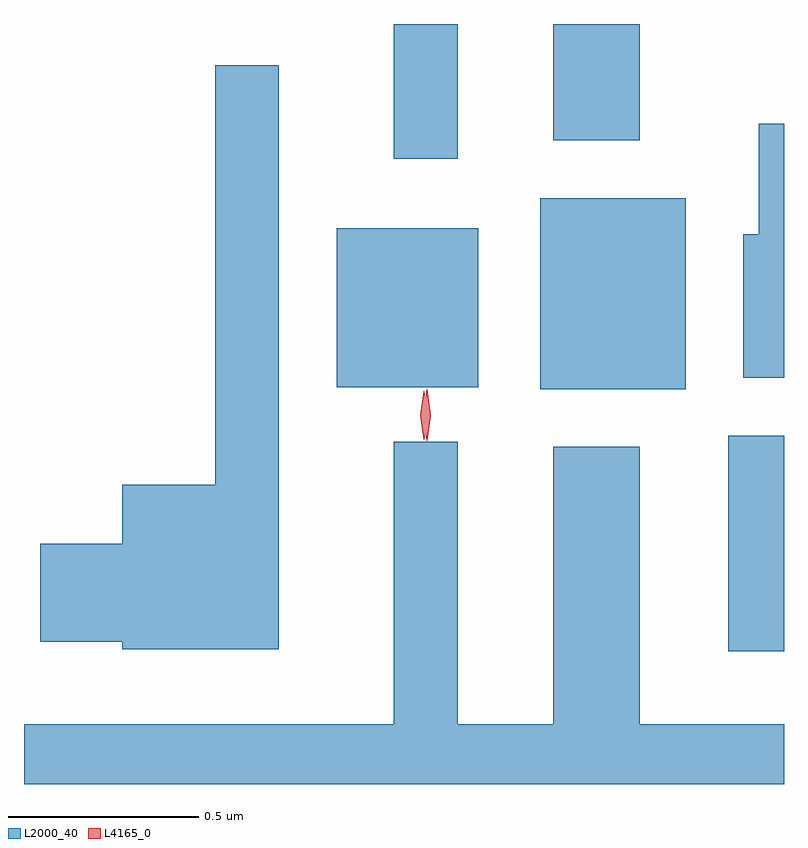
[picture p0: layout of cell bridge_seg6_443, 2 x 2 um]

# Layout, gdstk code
import gdstk
lib = gdstk.Library(unit=1e-6, precision=1e-09)
def R(c, l, rs):  # rectangles x0, y0, x1, y1
    for r in rs: c.add(gdstk.rectangle(r[:2], r[2:], *l))
def P(c, l, *ps):  # polygons
    for p in ps: c.add(gdstk.Polygon(p, *l))
L2000_40 = (2000, 40)
L4165_0 = (4165, 0)

bridge_seg6_443 = lib.new_cell('bridge_seg6_443')
R(bridge_seg6_443, L2000_40, [(909.901,1608.216,910.048,1608.784), (909.406,1608.906,909.789,1609.409), (908.871,1608.911,909.244,1609.329), (909.021,1609.513,909.189,1609.867), (909.441,1609.561,909.669,1609.867)])
P(bridge_seg6_443, L2000_40, [(908.719,1609.758),(908.551,1609.758),(908.551,1608.654),(908.306,1608.654),(908.306,1608.499),(908.091,1608.499),(908.091,1608.241),(908.306,1608.241),(908.306,1608.221),(908.719,1608.221)],
  [(910.048,1609.604),(909.981,1609.604),(909.981,1609.314),(909.941,1609.314),(909.941,1608.936),(910.048,1608.936)],
  [(910.048,1608.024),(909.669,1608.024),(909.669,1608.754),(909.441,1608.754),(909.441,1608.024),(909.189,1608.024),(909.189,1608.768),(909.021,1608.768),(909.021,1608.024),(908.048,1608.024),(908.048,1607.867),(910.048,1607.867)])
P(bridge_seg6_443, L4165_0, [(909.108,1608.77),(909.108,1608.77),(909.098,1608.838),(909.108,1608.906),(909.108,1608.906),(909.109,1608.906),(909.118,1608.838),(909.109,1608.77)],
  [(909.1,1608.773),(909.091,1608.837),(909.1,1608.901),(909.1,1608.902),(909.101,1608.901),(909.11,1608.837),(909.101,1608.773),(909.101,1608.773)])

lib.write_gds('bridge_seg6_443.gds')
